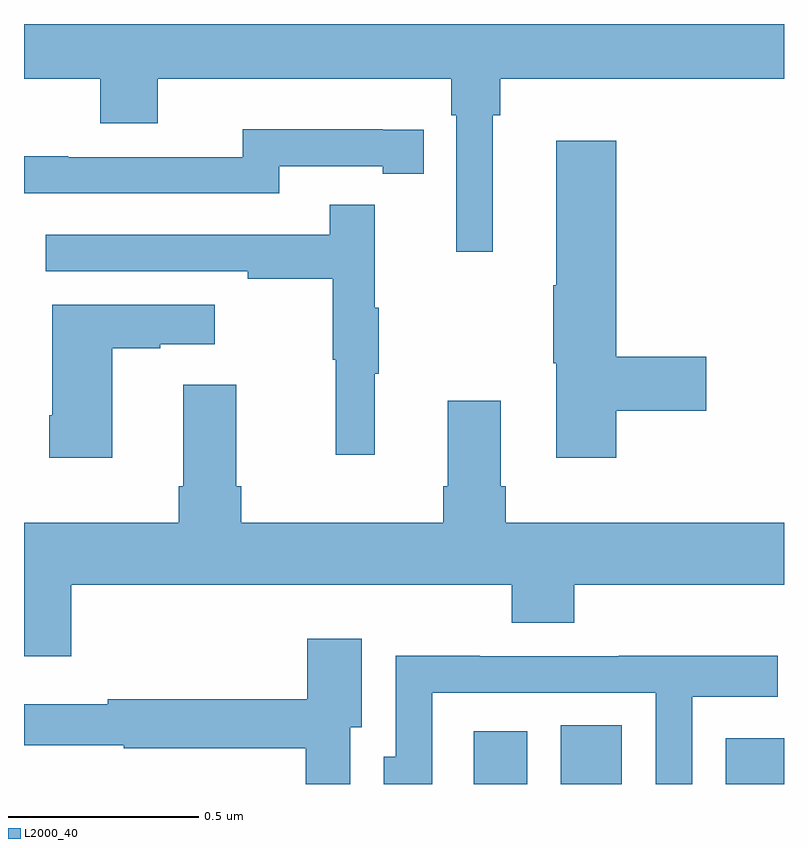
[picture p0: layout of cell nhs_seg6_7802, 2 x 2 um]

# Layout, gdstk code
import gdstk
lib = gdstk.Library(unit=1e-6, precision=1e-09)
def R(c, l, rs):  # rectangles x0, y0, x1, y1
    for r in rs: c.add(gdstk.rectangle(r[:2], r[2:], *l))
def P(c, l, *ps):  # polygons
    for p in ps: c.add(gdstk.Polygon(p, *l))
L2000_40 = (2000, 40)

nhs_seg6_7802 = lib.new_cell('nhs_seg6_7802')
R(nhs_seg6_7802, L2000_40, [(214.184,925.5,214.324,925.639), (214.412,925.5,214.573,925.655), (214.847,925.5,215,925.621)])
P(nhs_seg6_7802, L2000_40, [(214.234,927.26),(214.253,927.26),(214.253,927.356),(215,927.356),(215,927.5),(213,927.5),(213,927.356),(213.2,927.356),(213.2,927.239),(213.352,927.239),(213.352,927.356),(214.124,927.356),(214.124,927.26),(214.137,927.26),(214.137,926.901),(214.234,926.901)],
  [(213.672,927.126),(213.944,927.126),(213.944,927.106),(214.052,927.106),(214.052,927.222),(213.944,927.222),(213.944,927.223),(213.576,927.223),(213.576,927.15),(213.116,927.15),(213.116,927.152),(213,927.152),(213,927.054),(213.672,927.054)],
  [(214.559,926.482),(214.795,926.482),(214.795,926.624),(214.559,926.624),(214.559,927.193),(214.4,927.193),(214.4,926.813),(214.393,926.813),(214.393,926.607),(214.4,926.607),(214.4,926.358),(214.559,926.358)],
  [(213.923,926.579),(213.934,926.579),(213.934,926.753),(213.923,926.753),(213.923,927.025),(213.805,927.025),(213.805,926.946),(213.057,926.946),(213.057,926.85),(213.589,926.85),(213.589,926.83),(213.813,926.83),(213.813,926.616),(213.82,926.616),(213.82,926.367),(213.923,926.367)],
  [(213.232,926.647),(213.359,926.647),(213.359,926.657),(213.502,926.657),(213.502,926.761),(213.074,926.761),(213.074,926.47),(213.067,926.47),(213.067,926.358),(213.232,926.358)],
  [(214.283,925.925),(214.448,925.925),(214.448,926.024),(215,926.024),(215,926.188),(214.268,926.188),(214.268,926.284),(214.255,926.284),(214.255,926.509),(214.115,926.509),(214.115,926.284),(214.103,926.284),(214.103,926.188),(213.572,926.188),(213.572,926.284),(213.559,926.284),(213.559,926.551),(213.419,926.551),(213.419,926.284),(213.407,926.284),(213.407,926.188),(213,926.188),(213,925.836),(213.124,925.836),(213.124,926.024),(214.283,926.024)],
  [(213.859,925.649),(213.889,925.649),(213.889,925.882),(213.746,925.882),(213.746,925.723),(213.22,925.723),(213.22,925.71),(213,925.71),(213,925.602),(213.262,925.602),(213.262,925.594),(213.741,925.594),(213.741,925.5),(213.859,925.5)],
  [(214.074,925.74),(214.662,925.74),(214.662,925.5),(214.758,925.5),(214.758,925.73),(214.984,925.73),(214.984,925.838),(214.565,925.838),(214.565,925.836),(214.199,925.836),(214.199,925.838),(213.978,925.838),(213.978,925.572),(213.947,925.572),(213.947,925.5),(214.074,925.5)])

lib.write_gds('nhs_seg6_7802.gds')
